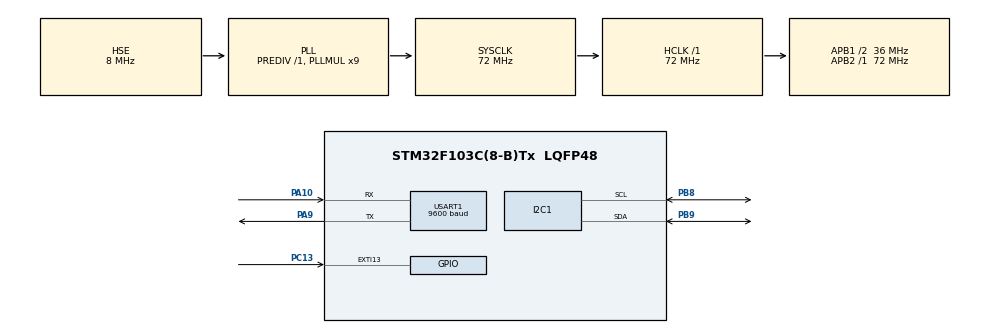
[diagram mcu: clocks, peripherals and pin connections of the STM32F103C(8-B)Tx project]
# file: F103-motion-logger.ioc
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Dma.I2C1_RX.0.Direction=DMA_PERIPH_TO_MEMORY
Dma.I2C1_RX.0.Instance=DMA1_Channel7
Dma.I2C1_RX.0.MemDataAlignment=DMA_MDATAALIGN_BYTE
Dma.I2C1_RX.0.MemInc=DMA_MINC_ENABLE
Dma.I2C1_RX.0.Mode=DMA_NORMAL
Dma.I2C1_RX.0.PeriphDataAlignment=DMA_PDATAALIGN_BYTE
Dma.I2C1_RX.0.PeriphInc=DMA_PINC_DISABLE
Dma.I2C1_RX.0.Priority=DMA_PRIORITY_HIGH
Dma.I2C1_TX.1.Direction=DMA_MEMORY_TO_PERIPH
Dma.I2C1_TX.1.Instance=DMA1_Channel6
Dma.I2C1_TX.1.MemDataAlignment=DMA_MDATAALIGN_BYTE
Dma.I2C1_TX.1.MemInc=DMA_MINC_ENABLE
Dma.I2C1_TX.1.Mode=DMA_NORMAL
Dma.I2C1_TX.1.PeriphDataAlignment=DMA_PDATAALIGN_BYTE
Dma.I2C1_TX.1.PeriphInc=DMA_PINC_DISABLE
Dma.I2C1_TX.1.Priority=DMA_PRIORITY_MEDIUM
Dma.Request0=I2C1_RX
Dma.Request1=I2C1_TX
FREERTOS.MEMORY_ALLOCATION=2
FREERTOS.Tasks01=defaultTask,-2,128,StartDefaultTask,Default,NULL,Static,defaultTaskBuffer,defaultTaskControlBlock
FREERTOS.configENABLE_BACKWARD_COMPATIBILITY=0
FREERTOS.configMINIMAL_STACK_SIZE=128
FREERTOS.configTOTAL_HEAP_SIZE=10240
FREERTOS.configUSE_TASK_NOTIFICATIONS=0
I2C1.I2C_Mode=I2C_Fast
Mcu.Family=STM32F1
Mcu.Name=STM32F103C(8-B)Tx
Mcu.Package=LQFP48
NVIC.DMA1_Channel6_IRQn=true\:5\:0\:false\:false\:true\:true\:false
NVIC.DMA1_Channel7_IRQn=true\:5\:0\:false\:false\:true\:true\:false
NVIC.PriorityGroup=NVIC_PRIORITYGROUP_4
NVIC.TIM1_UP_IRQn=true\:0\:0\:false\:false\:true\:false\:false
NVIC.TimeBase=TIM1_UP_IRQn
NVIC.TimeBaseIP=TIM1
PA10.Mode=Asynchronous
PA10.Signal=USART1_RX
PA13.Mode=Serial_Wire
PA13.Signal=SYS_JTMS-SWDIO
PA14.Mode=Serial_Wire
PA14.Signal=SYS_JTCK-SWCLK
PA9.Mode=Asynchronous
PA9.Signal=USART1_TX
PB8.Mode=I2C
PB8.Signal=I2C1_SCL
PB9.Mode=I2C
PB9.Signal=I2C1_SDA
PC13-TAMPER-RTC.Signal=GPXTI13
PD0-OSC_IN.Mode=HSE-External-Oscillator
PD0-OSC_IN.Signal=RCC_OSC_IN
PD1-OSC_OUT.Mode=HSE-External-Oscillator
PD1-OSC_OUT.Signal=RCC_OSC_OUT
ProjectManager.HeapSize=0x200
ProjectManager.StackSize=0x400
ProjectManager.TargetToolchain=EWARM
RCC.AHBFreq_Value=72000000
RCC.APB1CLKDivider=RCC_HCLK_DIV2
RCC.APB1Freq_Value=36000000
RCC.APB1TimFreq_Value=72000000
RCC.APB2Freq_Value=72000000
RCC.APB2TimFreq_Value=72000000
RCC.HCLKFreq_Value=72000000
RCC.PLLMUL=RCC_PLL_MUL9
RCC.PLLSourceVirtual=RCC_PLLSOURCE_HSE
RCC.SYSCLKFreq_VALUE=72000000
RCC.SYSCLKSource=RCC_SYSCLKSOURCE_PLLCLK
RCC.USBFreq_Value=72000000
USART1.BaudRate=9600
USART1.VirtualMode=VM_ASYNC
VP_FREERTOS_VS_ENABLE.Mode=Enabled
VP_SYS_VS_tim1.Mode=TIM1
board=F103-motion-logger

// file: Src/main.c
/**
  ******************************************************************************
  * @file           : main.c
  * @brief          : Main program body
  ******************************************************************************
  * This notice applies to any and all portions of this file
  * that are not between comment pairs USER CODE BEGIN and
  * USER CODE END. Other portions of this file, whether
  * inserted by the user or by software development tools
  * are owned by their respective copyright owners.
  *
  * Copyright (c) 2018 STMicroelectronics International N.V.
  * All rights reserved.
  *
  * Redistribution and use in source and binary forms, with or without
  * modification, are permitted, provided that the following conditions are met:
  *
  * 1. Redistribution of source code must retain the above copyright notice,
  *    this list of conditions and the following disclaimer.
  * 2. Redistributions in binary form must reproduce the above copyright notice,
  *    this list of conditions and the following disclaimer in the documentation
  *    and/or other materials provided with the distribution.
  * 3. Neither the name of STMicroelectronics nor the names of other
  *    contributors to this software may be used to endorse or promote products
  *    derived from this software without specific written permission.
  * 4. This software, including modifications and/or derivative works of this
  *    software, must execute solely and exclusively on microcontroller or
  *    microprocessor devices manufactured by or for STMicroelectronics.
  * 5. Redistribution and use of this software other than as permitted under
  *    this license is void and will automatically terminate your rights under
  *    this license.
  *
  * THIS SOFTWARE IS PROVIDED BY STMICROELECTRONICS AND CONTRIBUTORS "AS IS"
  * AND ANY EXPRESS, IMPLIED OR STATUTORY WARRANTIES, INCLUDING, BUT NOT
  * LIMITED TO, THE IMPLIED WARRANTIES OF MERCHANTABILITY, FITNESS FOR A
  * PARTICULAR PURPOSE AND NON-INFRINGEMENT OF THIRD PARTY INTELLECTUAL PROPERTY
  * RIGHTS ARE DISCLAIMED TO THE FULLEST EXTENT PERMITTED BY LAW. IN NO EVENT
  * SHALL STMICROELECTRONICS OR CONTRIBUTORS BE LIABLE FOR ANY DIRECT, INDIRECT,
  * INCIDENTAL, SPECIAL, EXEMPLARY, OR CONSEQUENTIAL DAMAGES (INCLUDING, BUT NOT
  * LIMITED TO, PROCUREMENT OF SUBSTITUTE GOODS OR SERVICES; LOSS OF USE, DATA,
  * OR PROFITS; OR BUSINESS INTERRUPTION) HOWEVER CAUSED AND ON ANY THEORY OF
  * LIABILITY, WHETHER IN CONTRACT, STRICT LIABILITY, OR TORT (INCLUDING
  * NEGLIGENCE OR OTHERWISE) ARISING IN ANY WAY OUT OF THE USE OF THIS SOFTWARE,
  * EVEN IF ADVISED OF THE POSSIBILITY OF SUCH DAMAGE.
  *
  ******************************************************************************
  */
#include "main.h"
#include "stm32f1xx_hal.h"
#include "cmsis_os.h"

I2C_HandleTypeDef hi2c1;
DMA_HandleTypeDef hdma_i2c1_rx;
DMA_HandleTypeDef hdma_i2c1_tx;

UART_HandleTypeDef huart1;

osThreadId defaultTaskHandle;
uint32_t defaultTaskBuffer[ 128 ];
osStaticThreadDef_t defaultTaskControlBlock;

/* USER CODE BEGIN PV */
/* Private variables ---------------------------------------------------------*/

/* USER CODE END PV */

void SystemClock_Config(void);
static void MX_GPIO_Init(void);
static void MX_DMA_Init(void);
static void MX_I2C1_Init(void);
static void MX_USART1_UART_Init(void);
void StartDefaultTask(void const * argument);

/* USER CODE BEGIN PFP */
/* Private function prototypes -----------------------------------------------*/

/* USER CODE END PFP */

/* USER CODE BEGIN 0 */
char int2Hex(uint8_t x){
    if(x < 10){
        return x + 0x30;
    }else{
        return x + 0x41 - 10;
    }
}
/* USER CODE END 0 */

int main(void)
{

  /* MCU Configuration----------------------------------------------------------*/

  /* Reset of all peripherals, Initializes the Flash interface and the Systick. */
  HAL_Init();

  /* Configure the system clock */
  SystemClock_Config();

  /* Initialize all configured peripherals */
  MX_GPIO_Init();
  MX_DMA_Init();
  MX_I2C1_Init();
  MX_USART1_UART_Init();

  /* Create the thread(s) */
  /* definition and creation of defaultTask */
  osThreadStaticDef(defaultTask, StartDefaultTask, osPriorityLow, 0, 128, defaultTaskBuffer, &defaultTaskControlBlock);
  defaultTaskHandle = osThreadCreate(osThread(defaultTask), NULL);

  /* Start scheduler */
  osKernelStart();

  /* We should never get here as control is now taken by the scheduler */

  /* Infinite loop */
  while (1)
  {

  }

}

void SystemClock_Config(void)
{

  RCC_OscInitTypeDef RCC_OscInitStruct;
  RCC_ClkInitTypeDef RCC_ClkInitStruct;

    /**Initializes the CPU, AHB and APB busses clocks
    */
  RCC_OscInitStruct.OscillatorType = RCC_OSCILLATORTYPE_HSE;
  RCC_OscInitStruct.HSEState = RCC_HSE_ON;
  RCC_OscInitStruct.HSEPredivValue = RCC_HSE_PREDIV_DIV1;
  RCC_OscInitStruct.HSIState = RCC_HSI_ON;
  RCC_OscInitStruct.PLL.PLLState = RCC_PLL_ON;
  RCC_OscInitStruct.PLL.PLLSource = RCC_PLLSOURCE_HSE;
  RCC_OscInitStruct.PLL.PLLMUL = RCC_PLL_MUL9;
  if (HAL_RCC_OscConfig(&RCC_OscInitStruct) != HAL_OK)
  {
    _Error_Handler(__FILE__, __LINE__);
  }

    /**Initializes the CPU, AHB and APB busses clocks
    */
  RCC_ClkInitStruct.ClockType = RCC_CLOCKTYPE_HCLK|RCC_CLOCKTYPE_SYSCLK
                              |RCC_CLOCKTYPE_PCLK1|RCC_CLOCKTYPE_PCLK2;
  RCC_ClkInitStruct.SYSCLKSource = RCC_SYSCLKSOURCE_PLLCLK;
  RCC_ClkInitStruct.AHBCLKDivider = RCC_SYSCLK_DIV1;
  RCC_ClkInitStruct.APB1CLKDivider = RCC_HCLK_DIV2;
  RCC_ClkInitStruct.APB2CLKDivider = RCC_HCLK_DIV1;

  if (HAL_RCC_ClockConfig(&RCC_ClkInitStruct, FLASH_LATENCY_2) != HAL_OK)
  {
    _Error_Handler(__FILE__, __LINE__);
  }

    /**Configure the Systick interrupt time
    */
  HAL_SYSTICK_Config(HAL_RCC_GetHCLKFreq()/1000);

    /**Configure the Systick
    */
  HAL_SYSTICK_CLKSourceConfig(SYSTICK_CLKSOURCE_HCLK);

  /* SysTick_IRQn interrupt configuration */
  HAL_NVIC_SetPriority(SysTick_IRQn, 15, 0);
}

/* I2C1 init function */
static void MX_I2C1_Init(void)
{

  hi2c1.Instance = I2C1;
  hi2c1.Init.ClockSpeed = 400000;
  hi2c1.Init.DutyCycle = I2C_DUTYCYCLE_2;
  hi2c1.Init.OwnAddress1 = 0;
  hi2c1.Init.AddressingMode = I2C_ADDRESSINGMODE_7BIT;
  hi2c1.Init.DualAddressMode = I2C_DUALADDRESS_DISABLE;
  hi2c1.Init.OwnAddress2 = 0;
  hi2c1.Init.GeneralCallMode = I2C_GENERALCALL_DISABLE;
  hi2c1.Init.NoStretchMode = I2C_NOSTRETCH_DISABLE;
  if (HAL_I2C_Init(&hi2c1) != HAL_OK)
  {
    _Error_Handler(__FILE__, __LINE__);
  }

}

/* USART1 init function */
static void MX_USART1_UART_Init(void)
{

  huart1.Instance = USART1;
  huart1.Init.BaudRate = 9600;
  huart1.Init.WordLength = UART_WORDLENGTH_8B;
  huart1.Init.StopBits = UART_STOPBITS_1;
  huart1.Init.Parity = UART_PARITY_NONE;
  huart1.Init.Mode = UART_MODE_TX_RX;
  huart1.Init.HwFlowCtl = UART_HWCONTROL_NONE;
  huart1.Init.OverSampling = UART_OVERSAMPLING_16;
  if (HAL_UART_Init(&huart1) != HAL_OK)
  {
    _Error_Handler(__FILE__, __LINE__);
  }

}

static void MX_DMA_Init(void)
{
  /* DMA controller clock enable */
  __HAL_RCC_DMA1_CLK_ENABLE();

  /* DMA interrupt init */
  /* DMA1_Channel6_IRQn interrupt configuration */
  HAL_NVIC_SetPriority(DMA1_Channel6_IRQn, 5, 0);
  HAL_NVIC_EnableIRQ(DMA1_Channel6_IRQn);
  /* DMA1_Channel7_IRQn interrupt configuration */
  HAL_NVIC_SetPriority(DMA1_Channel7_IRQn, 5, 0);
  HAL_NVIC_EnableIRQ(DMA1_Channel7_IRQn);

}

/** Configure pins as
        * Analog
        * Input
        * Output
        * EVENT_OUT
        * EXTI
        * Free pins are configured automatically as Analog (this feature is enabled through
        * the Code Generation settings)
*/
static void MX_GPIO_Init(void)
{

  GPIO_InitTypeDef GPIO_InitStruct;

  /* GPIO Ports Clock Enable */
  __HAL_RCC_GPIOC_CLK_ENABLE();
  __HAL_RCC_GPIOD_CLK_ENABLE();
  __HAL_RCC_GPIOA_CLK_ENABLE();
  __HAL_RCC_GPIOB_CLK_ENABLE();

  /*Configure GPIO pin : PC13 */
  GPIO_InitStruct.Pin = GPIO_PIN_13;
  GPIO_InitStruct.Mode = GPIO_MODE_IT_RISING;
  GPIO_InitStruct.Pull = GPIO_NOPULL;
  HAL_GPIO_Init(GPIOC, &GPIO_InitStruct);

  /*Configure GPIO pins : PC14 PC15 */
  GPIO_InitStruct.Pin = GPIO_PIN_14|GPIO_PIN_15;
  GPIO_InitStruct.Mode = GPIO_MODE_ANALOG;
  HAL_GPIO_Init(GPIOC, &GPIO_InitStruct);

  /*Configure GPIO pins : PA0 PA1 PA2 PA3
                           PA4 PA5 PA6 PA7
                           PA8 PA11 PA12 PA15 */
  GPIO_InitStruct.Pin = GPIO_PIN_0|GPIO_PIN_1|GPIO_PIN_2|GPIO_PIN_3
                          |GPIO_PIN_4|GPIO_PIN_5|GPIO_PIN_6|GPIO_PIN_7
                          |GPIO_PIN_8|GPIO_PIN_11|GPIO_PIN_12|GPIO_PIN_15;
  GPIO_InitStruct.Mode = GPIO_MODE_ANALOG;
  HAL_GPIO_Init(GPIOA, &GPIO_InitStruct);

  /*Configure GPIO pins : PB0 PB1 PB2 PB10
                           PB11 PB12 PB13 PB14
                           PB15 PB3 PB4 PB5
                           PB6 PB7 */
  GPIO_InitStruct.Pin = GPIO_PIN_0|GPIO_PIN_1|GPIO_PIN_2|GPIO_PIN_10
                          |GPIO_PIN_11|GPIO_PIN_12|GPIO_PIN_13|GPIO_PIN_14
                          |GPIO_PIN_15|GPIO_PIN_3|GPIO_PIN_4|GPIO_PIN_5
                          |GPIO_PIN_6|GPIO_PIN_7;
  GPIO_InitStruct.Mode = GPIO_MODE_ANALOG;
  HAL_GPIO_Init(GPIOB, &GPIO_InitStruct);

}

/* USER CODE BEGIN 4 */
void HAL_I2C_MemRxCpltCallback(I2C_HandleTypeDef* hi2c){
    void* lol = hi2c;
}

void HAL_I2C_ErrorCallback(I2C_HandleTypeDef* hi2c){
    void* lol = hi2c;
}
/* USER CODE END 4 */

/* StartDefaultTask function */
void StartDefaultTask(void const * argument)
{

  /* USER CODE BEGIN 5 */
    uint8_t rxBuf[14];
    uint8_t txBuf[] = "0000,0000,0000,0000,0000,0000,0000\n";

    // apply i2c filter defrosting hack
    GPIO_InitTypeDef GPIO_InitStruct;
    uint16_t i2cPin0 = GPIO_PIN_8; //scl
    uint16_t i2cPin1 = GPIO_PIN_9; //sda
    HAL_I2C_DeInit(&hi2c1);
    GPIO_InitStruct.Pin = i2cPin0 | i2cPin1;
    GPIO_InitStruct.Mode = GPIO_MODE_OUTPUT_OD;
    GPIO_InitStruct.Pull = GPIO_PULLUP;
    GPIO_InitStruct.Speed = GPIO_SPEED_FREQ_HIGH;
    HAL_GPIO_Init(GPIOB, &GPIO_InitStruct);
    HAL_GPIO_WritePin(GPIOB, i2cPin1, 1);
    HAL_GPIO_WritePin(GPIOB, i2cPin0, 1);
    HAL_GPIO_ReadPin(GPIOB, i2cPin0);
    HAL_GPIO_ReadPin(GPIOB, i2cPin1);
    HAL_GPIO_WritePin(GPIOB, i2cPin1, 0);
    HAL_GPIO_WritePin(GPIOB, i2cPin0, 0);
    HAL_GPIO_WritePin(GPIOB, i2cPin0, 1);
    HAL_GPIO_WritePin(GPIOB, i2cPin1, 1);
    HAL_GPIO_ReadPin(GPIOB, i2cPin0);
    HAL_GPIO_ReadPin(GPIOB, i2cPin1);
	HAL_I2C_Init(&hi2c1);

    // warmup black magic
	osDelay(5);
    HAL_StatusTypeDef tmp;

    /* configure MPU6050 (@0x68) */
    // make sure power is on
	// HAL_I2C_Mem_Write(&hi2c1, 0xd0, 0x6b, 1, "\x00", 1, 1000000);
    tmp = HAL_I2C_Master_Transmit(&hi2c1, 0xd0, "\x6b\x00", 2, 1000);
    if(tmp != HAL_OK) HAL_NVIC_SystemReset();
    osDelay(1);
    // set gyro to 250 °/s
    // HAL_I2C_Mem_Write(&hi2c1, 0xd0, 0x1b, 1, "\x00", 1, 1000000);
    tmp = HAL_I2C_Master_Transmit(&hi2c1, 0xd0, "\x1b\x00", 2, 1000);
    if(tmp != HAL_OK) HAL_NVIC_SystemReset();
    osDelay(1);
    // set acc to 16 g
    // HAL_I2C_Mem_Write(&hi2c1, 0xd0, 0x1c, 1, "\x18", 1, 1000000);
    tmp = HAL_I2C_Master_Transmit(&hi2c1, 0xd0, "\x1c\x18", 2, 1000);
    if(tmp != HAL_OK) HAL_NVIC_SystemReset();
    osDelay(1);
    // enabel raw data interrupt
    // HAL_I2C_Mem_Write(&hi2c1, 0xd0, 0x38, 1, "\x01", 1, 1000000);
//    HAL_I2C_Master_Transmit_DMA(&hi2c1, 0xd0, "\xd0\x01", 1);
    osDelay(1);

//	osDelay(10);

    for(;;){
		osDelay(1);
        tmp = HAL_I2C_Mem_Read_DMA(&hi2c1, 0xd0, 0x3b, 1, rxBuf, 14);
        if(tmp != HAL_OK) HAL_NVIC_SystemReset();
        for(uint8_t i = 0; i < 7; i++){
            txBuf[i*5+0] = int2Hex(rxBuf[i*2+0] >> 4);
            txBuf[i*5+1] = int2Hex(rxBuf[i*2+0] & 0xf);
            txBuf[i*5+2] = int2Hex(rxBuf[i*2+1] >> 4);
            txBuf[i*5+3] = int2Hex(rxBuf[i*2+1] & 0xf);
        }
        HAL_UART_Transmit(&huart1, txBuf, sizeof(txBuf)-1, 1000);
    }
  /* USER CODE END 5 */
}

void HAL_TIM_PeriodElapsedCallback(TIM_HandleTypeDef *htim)
{
  if (htim->Instance == TIM1) {
    HAL_IncTick();
  }
}

void _Error_Handler(char *file, int line)
{
  while(1)
  {
  }
}

/************************ (C) COPYRIGHT STMicroelectronics *****END OF FILE****/

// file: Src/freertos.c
/**
  ******************************************************************************
  * File Name          : freertos.c
  * Description        : Code for freertos applications
  ******************************************************************************
  * This notice applies to any and all portions of this file
  * that are not between comment pairs USER CODE BEGIN and
  * USER CODE END. Other portions of this file, whether
  * inserted by the user or by software development tools
  * are owned by their respective copyright owners.
  *
  * Copyright (c) 2018 STMicroelectronics International N.V.
  * All rights reserved.
  *
  * Redistribution and use in source and binary forms, with or without
  * modification, are permitted, provided that the following conditions are met:
  *
  * 1. Redistribution of source code must retain the above copyright notice,
  *    this list of conditions and the following disclaimer.
  * 2. Redistributions in binary form must reproduce the above copyright notice,
  *    this list of conditions and the following disclaimer in the documentation
  *    and/or other materials provided with the distribution.
  * 3. Neither the name of STMicroelectronics nor the names of other
  *    contributors to this software may be used to endorse or promote products
  *    derived from this software without specific written permission.
  * 4. This software, including modifications and/or derivative works of this
  *    software, must execute solely and exclusively on microcontroller or
  *    microprocessor devices manufactured by or for STMicroelectronics.
  * 5. Redistribution and use of this software other than as permitted under
  *    this license is void and will automatically terminate your rights under
  *    this license.
  *
  * THIS SOFTWARE IS PROVIDED BY STMICROELECTRONICS AND CONTRIBUTORS "AS IS"
  * AND ANY EXPRESS, IMPLIED OR STATUTORY WARRANTIES, INCLUDING, BUT NOT
  * LIMITED TO, THE IMPLIED WARRANTIES OF MERCHANTABILITY, FITNESS FOR A
  * PARTICULAR PURPOSE AND NON-INFRINGEMENT OF THIRD PARTY INTELLECTUAL PROPERTY
  * RIGHTS ARE DISCLAIMED TO THE FULLEST EXTENT PERMITTED BY LAW. IN NO EVENT
  * SHALL STMICROELECTRONICS OR CONTRIBUTORS BE LIABLE FOR ANY DIRECT, INDIRECT,
  * INCIDENTAL, SPECIAL, EXEMPLARY, OR CONSEQUENTIAL DAMAGES (INCLUDING, BUT NOT
  * LIMITED TO, PROCUREMENT OF SUBSTITUTE GOODS OR SERVICES; LOSS OF USE, DATA,
  * OR PROFITS; OR BUSINESS INTERRUPTION) HOWEVER CAUSED AND ON ANY THEORY OF
  * LIABILITY, WHETHER IN CONTRACT, STRICT LIABILITY, OR TORT (INCLUDING
  * NEGLIGENCE OR OTHERWISE) ARISING IN ANY WAY OUT OF THE USE OF THIS SOFTWARE,
  * EVEN IF ADVISED OF THE POSSIBILITY OF SUCH DAMAGE.
  *
  ******************************************************************************
  */

#include "FreeRTOS.h"
#include "task.h"

/* GetIdleTaskMemory prototype (linked to static allocation support) */
void vApplicationGetIdleTaskMemory( StaticTask_t **ppxIdleTaskTCBBuffer, StackType_t **ppxIdleTaskStackBuffer, uint32_t *pulIdleTaskStackSize );

/* Hook prototypes */

/* USER CODE BEGIN GET_IDLE_TASK_MEMORY */
static StaticTask_t xIdleTaskTCBBuffer;
static StackType_t xIdleStack[configMINIMAL_STACK_SIZE];

void vApplicationGetIdleTaskMemory( StaticTask_t **ppxIdleTaskTCBBuffer, StackType_t **ppxIdleTaskStackBuffer, uint32_t *pulIdleTaskStackSize )
{
  *ppxIdleTaskTCBBuffer = &xIdleTaskTCBBuffer;
  *ppxIdleTaskStackBuffer = &xIdleStack[0];
  *pulIdleTaskStackSize = configMINIMAL_STACK_SIZE;
  /* place for user code */
}
/* USER CODE END GET_IDLE_TASK_MEMORY */

/************************ (C) COPYRIGHT STMicroelectronics *****END OF FILE****/
